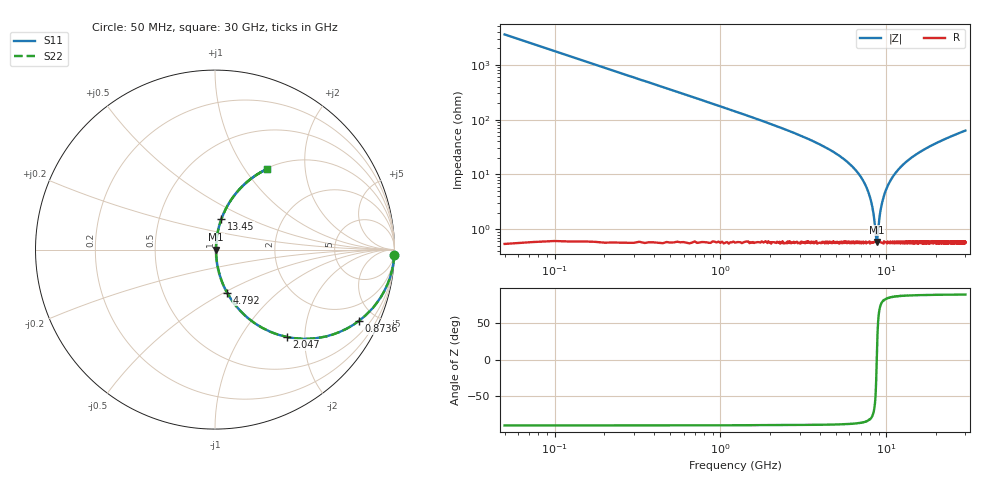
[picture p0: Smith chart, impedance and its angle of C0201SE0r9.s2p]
!	AVX Thin Film Operation 	Date: April 2014
!	Description: Accu-P® Series, Thin Film  SMD RF Capacitor
!	Part Number: 02015J0R9PBSTR
# MHZ S MA R 50
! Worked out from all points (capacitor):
!   1201 points, 50 MHz to 30 GHz, reference 50 ohm
!   read as one part in series: C = 899 fF near 199.8 MHz
!   lowest |Z| = 591 mohm at 8.76 GHz (marker M1)
!   series resonance near 8.764 GHz, so ESL is about 370 pH
!   S11 on the Smith chart (normalised r, x): 50 MHz: 0, -71; 873.6 MHz: 1.01, -4.01; 2.047 GHz: 1.01, -1.63; 4.792 GHz: 1.01, -0.52; 13.45 GHz: 1.01, +0.36; 30 GHz: 1.01, +1.26
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50  1 -1.6  0.028 88.4  0.028 88.4  1 -1.6
249.667  0.99 -8.0  0.14 81.9  0.14 81.9  0.99 -8.0
374.458  0.978 -12.0  0.207 78.0  0.207 78.0  0.978 -12.0
873.625  0.894 -26.5  0.446 63.4  0.446 63.4  0.894 -26.5
1397.75  0.775 -38.9  0.628 50.8  0.628 50.8  0.775 -38.9
2046.667  0.63 -50.5  0.772 39.1  0.772 39.1  0.63 -50.5
3219.708  0.427 -64.0  0.899 25.3  0.899 25.3  0.427 -64.0
4792.083  0.249 -74.3  0.963 14.4  0.963 14.4  0.249 -74.3
5041.667  0.227 -75.5  0.968 13.1  0.968 13.1  0.227 -75.5
6614.042  0.114 -80.6  0.988 6.5  0.988 6.5  0.114 -80.6
7637.333  0.056 -80.9  0.993 3.2  0.993 3.2  0.056 -80.9
8236.333  0.026 -75.6  0.994 1.4  0.994 1.4  0.026 -75.6
8660.625  0.00745 -39.4  0.994 0.3  0.994 0.3  0.00745 -39.4
8760.458  0.005739 -1.5  0.994 0.0  0.994 0.0  0.005739 -1.5
9334.5  0.026 75.8  0.994 -1.5  0.994 -1.5  0.026 75.8
10058.29  0.056 80.9  0.993 -3.2  0.993 -3.2  0.056 80.9
11455.96  0.108 80.8  0.988 -6.2  0.988 -6.2  0.108 80.8
13452.62  0.175 78.1  0.979 -10.1  0.979 -10.1  0.175 78.1
15025  0.221 75.8  0.97 -12.8  0.97 -12.8  0.221 75.8
20016.67  0.347 68.8  0.932 -20.3  0.932 -20.3  0.347 68.8
25033.29  0.449 62.7  0.888 -26.7  0.888 -26.7  0.449 62.7
30000  0.532 57.3  0.842 -32.1  0.842 -32.1  0.532 57.3
